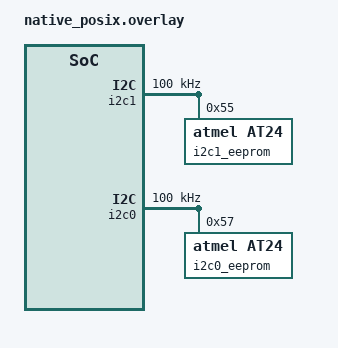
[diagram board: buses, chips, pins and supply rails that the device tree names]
/*
 * Copyright (c) 2022 Google LLC
 *
 * SPDX-License-Identifier: Apache-2.0
 */

/ {
	/* Default native_posix board only contains 1 I2C bus */
 	i2c1: i2c@200 {
		status = "okay";
		compatible = "zephyr,i2c-emul-controller";
		clock-frequency = <I2C_BITRATE_STANDARD>;
		#address-cells = <1>;
		#size-cells = <0>;
		reg = <0x200 4>;
	};
};

&i2c0 {
	clock-frequency = <I2C_BITRATE_STANDARD>;
	i2c0_eeprom: eeprom@57 {
		compatible = "atmel,at24";
		reg = <0x57>;
		size = <256>;
		pagesize = <8>;
		address-width = <8>;
		timeout = <5>;
	};
};

&i2c1 {
	clock-frequency = <I2C_BITRATE_STANDARD>;
	i2c1_eeprom: eeprom@55 {
		compatible = "atmel,at24";
		reg = <0x55>;
		size = <256>;
		pagesize = <8>;
		address-width = <8>;
		timeout = <5>;
	};
};
